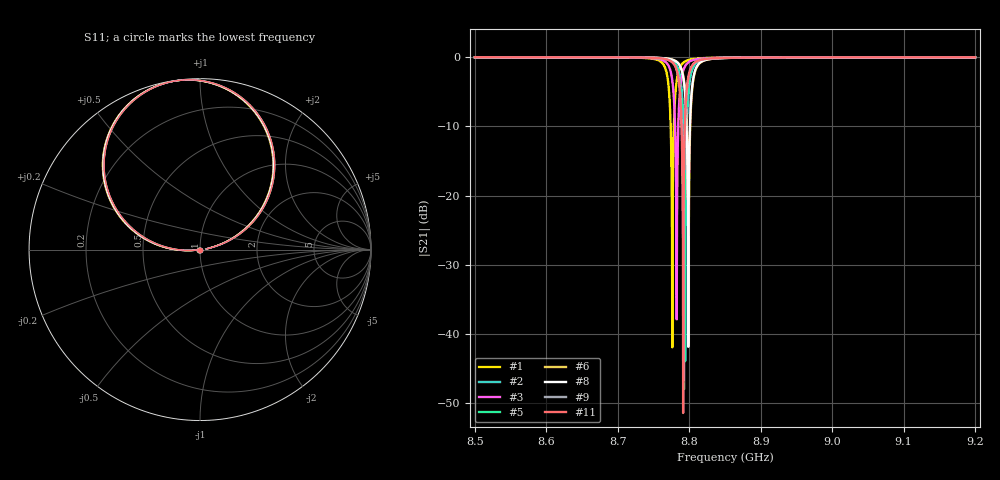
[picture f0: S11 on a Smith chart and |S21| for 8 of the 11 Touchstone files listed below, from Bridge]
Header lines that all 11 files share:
! Sonnet Data File
! From: emgraph Version : 16.52
! From Project: transmon_brg
! Data is De-embedded
!< HDATE 11/11/2017 16:55:33
!< MDATE 11/11/2017 17:38:18
!< PARAMS
!< END PARAMS
# GHZ S MA R 51.80000
Fixed: Lj = 15.24, Gap = 6.0, Width = 10.0, Airgap = 6.0, Pwidth = 2000.0
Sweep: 8.5 GHz to 9.2 GHz
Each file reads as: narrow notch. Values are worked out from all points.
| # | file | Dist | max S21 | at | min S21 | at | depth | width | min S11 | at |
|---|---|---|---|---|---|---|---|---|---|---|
| 1 | Teven_W8_D400.s2p | 399.999916 | 0.00 dB | 8.5 GHz | -41.9 dB | 8.776 GHz | 41.9 dB | 1.2 MHz | -42.4 dB | 8.5 GHz |
| 2 | Teven_W8_D600.s2p | 600.0 | 0.00 dB | 8.5 GHz | -43.9 dB | 8.794 GHz | 43.9 dB | 1.11 MHz | -44.7 dB | 8.5 GHz |
| 3 | Teven_W8_D800.s2p | 800.0 | 0.00 dB | 8.5 GHz | -37.9 dB | 8.782 GHz | 37.9 dB | 1.53 MHz | -45.0 dB | 8.5 GHz |
| 4 | Teven_W8_D1000.s2p | 1000.0 | 0.00 dB | 8.501 GHz | -37.9 dB | 8.799 GHz | 37.9 dB | 1.6 MHz | -46.9 dB | 8.5 GHz |
| 5 | Teven_W8_D1200.s2p | 1200.0 | 0.00 dB | 8.5 GHz | -48.0 dB | 8.793 GHz | 48.0 dB | 876 kHz | -47.4 dB | 8.5 GHz |
| 6 | Teven_W8_D1400.s2p | 1400.0 | 0.00 dB | 8.5 GHz | -41.1 dB | 8.799 GHz | 41.1 dB | 1.32 MHz | -48.8 dB | 8.5 GHz |
| 7 | Teven_W8_D1600.s2p | 1600.0 | 0.00 dB | 8.501 GHz | -51.3 dB | 8.792 GHz | 51.3 dB | 734 kHz | -49.4 dB | 8.5 GHz |
| 8 | Teven_W8_D1800.s2p | 1800.0 | 0.00 dB | 8.5 GHz | -41.9 dB | 8.799 GHz | 41.8 dB | 1.26 MHz | -51.2 dB | 8.5 GHz |
| 9 | Teven_W8_D2000.s2p | 2000.0 | 0.00 dB | 8.5 GHz | -46.7 dB | 8.792 GHz | 46.7 dB | 943 kHz | -52.2 dB | 8.5 GHz |
| 10 | Teven_W8_D2200.s2p | 2200.0 | 0.00 dB | 8.502 GHz | -44.2 dB | 8.798 GHz | 44.2 dB | 1.1 MHz | -55.2 dB | 8.5 GHz |
| 11 | Teven_W8_D2400.s2p | 2400.0 | 0.00 dB | 8.501 GHz | -51.4 dB | 8.791 GHz | 51.4 dB | 726 kHz | -56.5 dB | 8.5 GHz |
